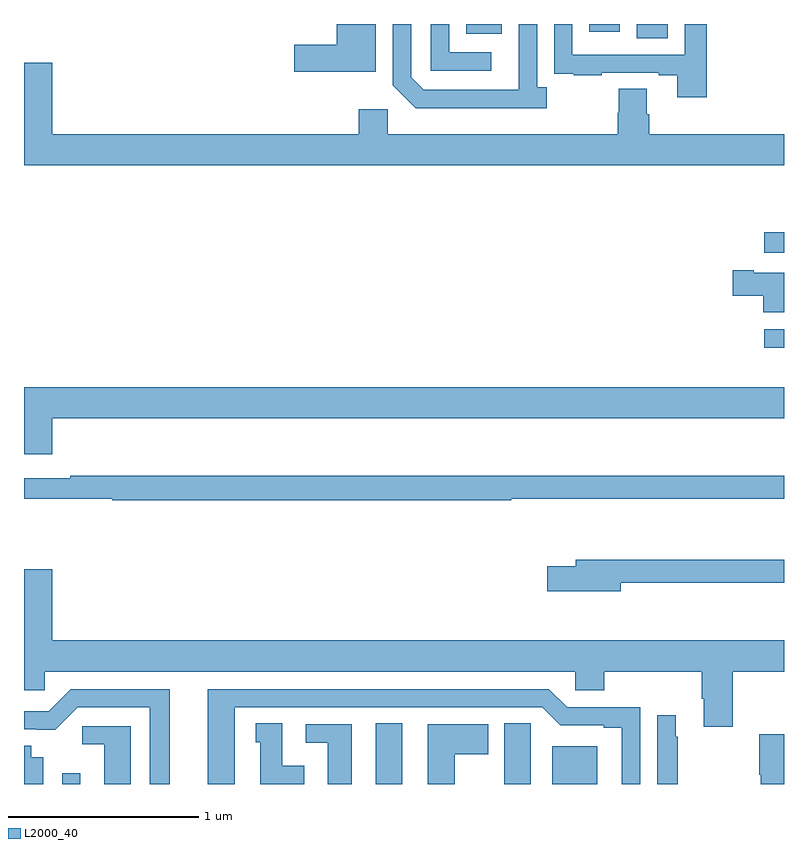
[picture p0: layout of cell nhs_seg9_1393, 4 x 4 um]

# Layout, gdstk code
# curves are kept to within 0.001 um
import gdstk
lib = gdstk.Library(unit=1e-6, precision=1e-09)
def R(c, l, rs):  # rectangles x0, y0, x1, y1
    for r in rs: c.add(gdstk.rectangle(r[:2], r[2:], *l))
def P(c, l, *ps):  # polygons
    for p in ps: c.add(gdstk.Polygon(p, *l))
L2000_40 = (2000, 40)

nhs_seg9_1393 = lib.new_cell('nhs_seg9_1393')
R(nhs_seg9_1393, L2000_40, [(189.201,1190.5,189.297,1190.557), (190.85,1190.5,190.99,1190.819), (191.78,1190.5,192.016,1190.698), (192.897,1192.797,193,1192.893), (192.897,1193.295,193,1193.404), (192.224,1194.424,192.388,1194.5), (191.327,1194.449,191.515,1194.5), (191.975,1194.459,192.136,1194.5)])
P(nhs_seg9_1393, L2000_40, [(191.752,1194.166),(191.7,1194.166),(191.7,1194.5),(191.604,1194.5),(191.603,1194.153),(191.103,1194.153),(191.037,1194.219),(191.037,1194.5),(190.941,1194.5),(190.941,1194.177),(191.062,1194.056),(191.752,1194.056)],
  [(191.458,1194.351),(191.238,1194.351),(191.238,1194.5),(191.142,1194.5),(191.142,1194.255),(191.458,1194.255)],
  [(190.852,1194.5),(190.645,1194.5),(190.645,1194.392),(190.422,1194.392),(190.422,1194.25),(190.852,1194.25)],
  [(192.593,1194.5),(192.477,1194.5),(192.477,1194.339),(191.886,1194.339),(191.886,1194.5),(191.79,1194.5),(191.79,1194.346),(191.791,1194.346),(191.791,1194.237),(191.893,1194.237),(191.893,1194.231),(192.041,1194.231),(192.041,1194.243),(192.341,1194.243),(192.341,1194.231),(192.437,1194.231),(192.437,1194.114),(192.593,1194.114)],
  [(193,1193.92),(192.29,1193.92),(192.29,1194.026),(192.277,1194.026),(192.277,1194.158),(192.13,1194.158),(192.13,1194.033),(192.125,1194.033),(192.125,1193.92),(190.914,1193.92),(190.914,1194.052),(190.763,1194.052),(190.763,1193.92),(189.148,1193.92),(189.148,1194.295),(189,1194.295),(189,1193.756),(193,1193.756)],
  [(193,1193.191),(192.841,1193.191),(192.841,1193.204),(192.729,1193.204),(192.729,1193.069),(192.89,1193.069),(192.89,1192.982),(193,1192.982)],
  [(189.148,1192.424),(193,1192.424),(193,1192.588),(189,1192.588),(189,1192.236),(189.148,1192.236)],
  [(191.564,1192.002),(193,1192.002),(193,1192.123),(189.244,1192.123),(189.244,1192.11),(189,1192.11),(189,1192.002),(189.464,1192.002),(189.464,1191.994),(191.564,1191.994)],
  [(192.142,1191.558),(193,1191.558),(193,1191.679),(191.903,1191.679),(191.903,1191.645),(191.754,1191.645),(191.754,1191.515),(192.142,1191.515)],
  [(192.731,1191.092),(193,1191.092),(193,1191.256),(189.148,1191.256),(189.148,1191.631),(189,1191.631),(189,1190.994),(189.108,1190.994),(189.108,1191.092),(191.901,1191.092),(191.901,1190.994),(192.053,1190.994),(192.053,1191.092),(192.566,1191.092),(192.566,1190.95),(192.578,1190.95),(192.578,1190.802),(192.731,1190.802)],
  [(190.108,1190.904),(191.727,1190.904),(191.823,1190.808),(192.05,1190.808),(192.05,1190.796),(192.146,1190.796),(192.146,1190.5),(192.243,1190.5),(192.243,1190.904),(191.859,1190.904),(191.763,1191),(189.968,1191),(189.968,1190.5),(190.108,1190.5)],
  [(189.766,1191),(189.246,1191),(189.129,1190.883),(189,1190.883),(189,1190.787),(189.068,1190.787),(189.068,1190.786),(189.164,1190.786),(189.282,1190.904),(189.662,1190.904),(189.662,1190.5),(189.766,1190.5)],
  [(192.442,1190.75),(192.43,1190.75),(192.43,1190.863),(192.333,1190.863),(192.333,1190.5),(192.442,1190.5)],
  [(190.474,1190.596),(190.36,1190.596),(190.36,1190.819),(190.22,1190.819),(190.22,1190.721),(190.244,1190.721),(190.244,1190.5),(190.474,1190.5)],
  [(191.668,1190.708),(191.667,1190.708),(191.667,1190.819),(191.528,1190.819),(191.528,1190.5),(191.668,1190.5)],
  [(191.266,1190.656),(191.443,1190.656),(191.443,1190.815),(191.126,1190.815),(191.126,1190.5),(191.266,1190.5)],
  [(190.726,1190.814),(190.482,1190.814),(190.482,1190.718),(190.598,1190.718),(190.598,1190.5),(190.726,1190.5)],
  [(189.562,1190.805),(189.306,1190.805),(189.306,1190.708),(189.422,1190.708),(189.422,1190.5),(189.562,1190.5)],
  [(193,1190.761),(192.871,1190.761),(192.871,1190.548),(192.878,1190.548),(192.878,1190.5),(193,1190.5)],
  [(189.1,1190.641),(189.037,1190.641),(189.037,1190.702),(189,1190.702),(189,1190.5),(189.1,1190.5)])

lib.write_gds('nhs_seg9_1393.gds')
